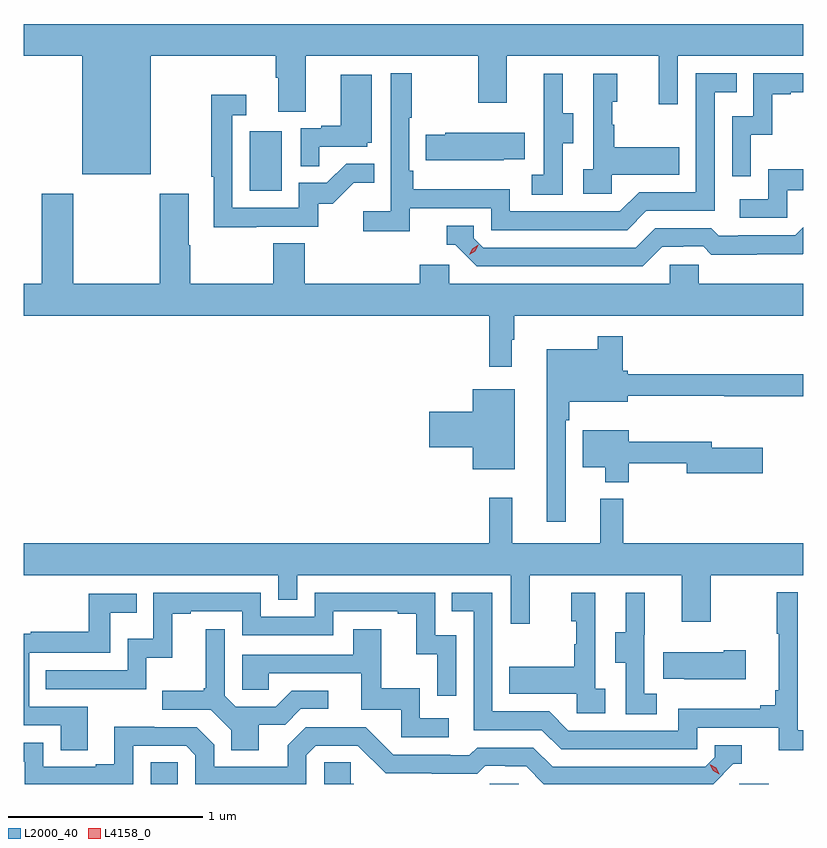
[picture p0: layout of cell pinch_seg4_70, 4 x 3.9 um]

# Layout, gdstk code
import gdstk
lib = gdstk.Library(unit=1e-6, precision=1e-09)
def R(c, l, rs):  # rectangles x0, y0, x1, y1
    for r in rs: c.add(gdstk.rectangle(r[:2], r[2:], *l))
def P(c, l, *ps):  # polygons
    for p in ps: c.add(gdstk.Polygon(p, *l))
L2000_40 = (2000, 40)
L4158_0 = (4158, 0)

pinch_seg4_70 = lib.new_cell('pinch_seg4_70')
R(pinch_seg4_70, L2000_40, [(1034.387,821.057,1034.526,821.168), (1036.125,821.057,1036.275,821.058), (1037.406,821.057,1037.558,821.058), (1034.894,824.1,1035.058,824.407)])
P(pinch_seg4_70, L2000_40, [(1034.386,824.792),(1035.029,824.792),(1035.029,824.68),(1035.041,824.68),(1035.041,824.506),(1035.181,824.506),(1035.181,824.792),(1036.066,824.792),(1036.066,824.553),(1036.213,824.553),(1036.213,824.792),(1036.994,824.792),(1036.994,824.544),(1037.091,824.544),(1037.091,824.792),(1037.735,824.792),(1037.735,824.956),(1033.735,824.956),(1033.735,824.792),(1034.036,824.792),(1034.036,824.186),(1034.386,824.186)],
  [(1035.716,824.01),(1036.134,824.01),(1036.134,823.899),(1036.831,823.899),(1036.93,823.998),(1037.28,823.998),(1037.28,824.607),(1037.393,824.607),(1037.393,824.703),(1037.184,824.703),(1037.184,824.094),(1036.893,824.094),(1036.794,823.995),(1036.23,823.995),(1036.23,824.107),(1035.734,824.107),(1035.734,824.203),(1035.714,824.203),(1035.714,824.476),(1035.727,824.476),(1035.727,824.704),(1035.618,824.704),(1035.618,823.996),(1035.477,823.996),(1035.477,823.894),(1035.716,823.894)],
  [(1037.466,824.387),(1037.576,824.387),(1037.576,824.595),(1037.671,824.595),(1037.671,824.607),(1037.735,824.607),(1037.735,824.703),(1037.478,824.703),(1037.478,824.484),(1037.37,824.484),(1037.37,824.175),(1037.466,824.175)],
  [(1036.752,824.183),(1037.099,824.183),(1037.099,824.323),(1036.765,824.323),(1036.765,824.438),(1036.755,824.438),(1036.755,824.556),(1036.78,824.556),(1036.78,824.701),(1036.656,824.701),(1036.656,824.21),(1036.605,824.21),(1036.605,824.085),(1036.752,824.085)],
  [(1036.5,824.344),(1036.555,824.344),(1036.555,824.499),(1036.501,824.499),(1036.501,824.701),(1036.403,824.701),(1036.403,824.487),(1036.404,824.487),(1036.404,824.183),(1036.341,824.183),(1036.341,824.08),(1036.5,824.08)],
  [(1035.251,824.325),(1035.498,824.325),(1035.498,824.346),(1035.52,824.346),(1035.52,824.695),(1035.362,824.695),(1035.362,824.434),(1035.263,824.434),(1035.263,824.421),(1035.156,824.421),(1035.156,824.227),(1035.251,824.227)],
  [(1034.927,823.917),(1035.246,823.917),(1035.246,824.034),(1035.322,824.034),(1035.429,824.141),(1035.533,824.141),(1035.533,824.24),(1035.389,824.24),(1035.291,824.142),(1035.147,824.142),(1035.147,824.013),(1034.805,824.013),(1034.805,824.487),(1034.878,824.487),(1034.878,824.593),(1034.697,824.593),(1034.697,824.173),(1034.709,824.173),(1034.709,823.912),(1034.927,823.912)],
  [(1036.199,824.261),(1036.307,824.261),(1036.307,824.398),(1035.897,824.398),(1035.897,824.388),(1035.799,824.388),(1035.799,824.258),(1036.199,824.258)],
  [(1037.652,824.103),(1037.735,824.103),(1037.735,824.212),(1037.556,824.212),(1037.556,824.058),(1037.409,824.058),(1037.409,823.962),(1037.652,823.962)],
  [(1036.24,823.337),(1036.252,823.337),(1036.252,823.46),(1037.735,823.46),(1037.735,823.624),(1037.199,823.624),(1037.199,823.722),(1037.049,823.722),(1037.049,823.624),(1035.918,823.624),(1035.918,823.722),(1035.767,823.722),(1035.767,823.624),(1035.176,823.624),(1035.176,823.832),(1035.016,823.832),(1035.016,823.624),(1034.589,823.624),(1034.589,823.82),(1034.581,823.82),(1034.581,824.086),(1034.434,824.086),(1034.434,823.624),(1033.989,823.624),(1033.989,824.086),(1033.829,824.086),(1033.829,823.624),(1033.735,823.624),(1033.735,823.46),(1036.123,823.46),(1036.123,823.197),(1036.24,823.197)],
  [(1037.011,823.812),(1037.118,823.812),(1037.118,823.815),(1037.221,823.815),(1037.263,823.773),(1037.496,823.773),(1037.496,823.775),(1037.732,823.775),(1037.735,823.778),(1037.735,823.913),(1037.694,823.872),(1037.401,823.872),(1037.401,823.869),(1037.302,823.869),(1037.263,823.908),(1036.974,823.908),(1036.875,823.809),(1036.092,823.809),(1036.044,823.857),(1036.044,823.92),(1035.905,823.92),(1035.905,823.824),(1035.948,823.824),(1036.059,823.713),(1036.912,823.713)],
  [(1036.515,822.923),(1036.535,822.923),(1036.535,823.019),(1036.834,823.019),(1036.834,823.048),(1037.33,823.048),(1037.33,823.045),(1037.735,823.045),(1037.735,823.159),(1036.834,823.159),(1036.834,823.177),(1036.808,823.177),(1036.808,823.354),(1036.68,823.354),(1036.68,823.288),(1036.418,823.288),(1036.418,822.402),(1036.515,822.402)],
  [(1036.255,823.081),(1036.04,823.081),(1036.04,822.968),(1035.816,822.968),(1035.816,822.785),(1036.04,822.785),(1036.04,822.671),(1036.255,822.671)],
  [(1036.84,822.702),(1037.138,822.702),(1037.138,822.652),(1037.527,822.652),(1037.527,822.781),(1037.266,822.781),(1037.266,822.813),(1036.84,822.813),(1036.84,822.871),(1036.604,822.871),(1036.604,822.683),(1036.718,822.683),(1036.718,822.605),(1036.84,822.605)],
  [(1036.331,822.128),(1037.111,822.128),(1037.111,821.889),(1037.259,821.889),(1037.259,822.128),(1037.735,822.128),(1037.735,822.292),(1036.811,822.292),(1036.811,822.52),(1036.694,822.52),(1036.694,822.292),(1036.241,822.292),(1036.241,822.526),(1036.123,822.526),(1036.123,822.292),(1033.735,822.292),(1033.735,822.128),(1035.042,822.128),(1035.042,822.001),(1035.138,822.001),(1035.138,822.128),(1036.233,822.128),(1036.233,821.88),(1036.331,821.88)],
  [(1037.735,821.332),(1037.706,821.332),(1037.706,822.04),(1037.598,822.04),(1037.598,821.827),(1037.609,821.827),(1037.609,821.539),(1037.59,821.539),(1037.59,821.462),(1037.513,821.462),(1037.513,821.443),(1037.094,821.443),(1037.094,821.331),(1036.53,821.331),(1036.431,821.43),(1036.14,821.43),(1036.14,822.039),(1035.931,822.039),(1035.931,821.943),(1036.044,821.943),(1036.044,821.334),(1036.394,821.334),(1036.493,821.235),(1037.19,821.235),(1037.19,821.346),(1037.609,821.346),(1037.609,821.23),(1037.735,821.23)],
  [(1035.954,821.82),(1035.846,821.82),(1035.846,822.039),(1035.228,822.039),(1035.228,821.916),(1034.952,821.916),(1034.952,822.039),(1034.4,822.039),(1034.4,821.803),(1034.268,821.803),(1034.268,821.64),(1033.849,821.64),(1033.849,821.544),(1034.364,821.544),(1034.364,821.705),(1034.497,821.705),(1034.497,821.931),(1034.593,821.931),(1034.593,821.943),(1034.856,821.943),(1034.856,821.82),(1035.324,821.82),(1035.324,821.943),(1035.653,821.943),(1035.653,821.931),(1035.749,821.931),(1035.749,821.723),(1035.858,821.723),(1035.858,821.511),(1035.954,821.511)],
  [(1036.984,821.519),(1036.92,821.519),(1036.92,821.823),(1036.922,821.823),(1036.922,822.037),(1036.823,822.037),(1036.823,821.835),(1036.769,821.835),(1036.769,821.68),(1036.824,821.68),(1036.824,821.416),(1036.984,821.416)],
  [(1036.72,821.546),(1036.668,821.546),(1036.668,822.037),(1036.544,822.037),(1036.544,821.892),(1036.57,821.892),(1036.57,821.774),(1036.56,821.774),(1036.56,821.659),(1036.225,821.659),(1036.225,821.519),(1036.572,821.519),(1036.572,821.421),(1036.72,821.421)],
  [(1034.065,821.454),(1033.764,821.454),(1033.764,821.73),(1034.18,821.73),(1034.18,821.936),(1034.315,821.936),(1034.315,822.033),(1034.07,822.033),(1034.07,821.839),(1033.771,821.839),(1033.771,821.827),(1033.735,821.827),(1033.735,821.358),(1033.925,821.358),(1033.925,821.23),(1034.065,821.23)],
  [(1034.941,821.362),(1035.076,821.362),(1035.156,821.442),(1035.298,821.442),(1035.298,821.535),(1035.11,821.535),(1035.029,821.454),(1034.823,821.454),(1034.766,821.511),(1034.766,821.851),(1034.669,821.851),(1034.669,821.548),(1034.658,821.548),(1034.658,821.536),(1034.445,821.536),(1034.445,821.439),(1034.694,821.439),(1034.801,821.332),(1034.801,821.23),(1034.941,821.23)],
  [(1035.916,821.394),(1035.768,821.394),(1035.768,821.548),(1035.569,821.548),(1035.569,821.851),(1035.425,821.851),(1035.425,821.721),(1034.856,821.721),(1034.856,821.541),(1034.993,821.541),(1034.993,821.625),(1035.467,821.625),(1035.467,821.439),(1035.672,821.439),(1035.672,821.298),(1035.916,821.298)],
  [(1037.44,821.742),(1037.327,821.742),(1037.327,821.734),(1037.017,821.734),(1037.017,821.597),(1037.125,821.597),(1037.125,821.594),(1037.44,821.594)],
  [(1034.298,821.253),(1034.568,821.253),(1034.616,821.205),(1034.616,821.057),(1035.186,821.057),(1035.186,821.205),(1035.234,821.253),(1035.45,821.253),(1035.592,821.111),(1035.828,821.111),(1035.828,821.109),(1036.061,821.109),(1036.103,821.151),(1036.206,821.151),(1036.206,821.148),(1036.313,821.148),(1036.404,821.057),(1037.273,821.057),(1037.376,821.16),(1037.419,821.16),(1037.419,821.256),(1037.28,821.256),(1037.28,821.193),(1037.232,821.145),(1036.449,821.145),(1036.35,821.244),(1036.061,821.244),(1036.022,821.205),(1035.923,821.205),(1035.923,821.208),(1035.63,821.208),(1035.489,821.349),(1035.183,821.349),(1035.089,821.255),(1035.089,821.145),(1034.712,821.145),(1034.712,821.259),(1034.622,821.349),(1034.406,821.349),(1034.406,821.351),(1034.201,821.351),(1034.201,821.158),(1034.105,821.158),(1034.105,821.145),(1033.836,821.145),(1033.836,821.268),(1033.735,821.268),(1033.735,821.172),(1033.74,821.172),(1033.74,821.057),(1034.298,821.057)],
  [(1035.428,821.058),(1035.413,821.058),(1035.413,821.168),(1035.276,821.168),(1035.276,821.057),(1035.428,821.057)])
P(pinch_seg4_70, L4158_0, [(1037.303,821.107),(1037.272,821.126),(1037.256,821.159),(1037.256,821.159),(1037.256,821.159),(1037.287,821.14),(1037.303,821.107),(1037.303,821.107)],
  [(1036.021,823.771),(1036.021,823.771),(1036.037,823.804),(1036.067,823.824),(1036.067,823.824),(1036.067,823.823),(1036.052,823.791),(1036.022,823.771)])

lib.write_gds('pinch_seg4_70.gds')
